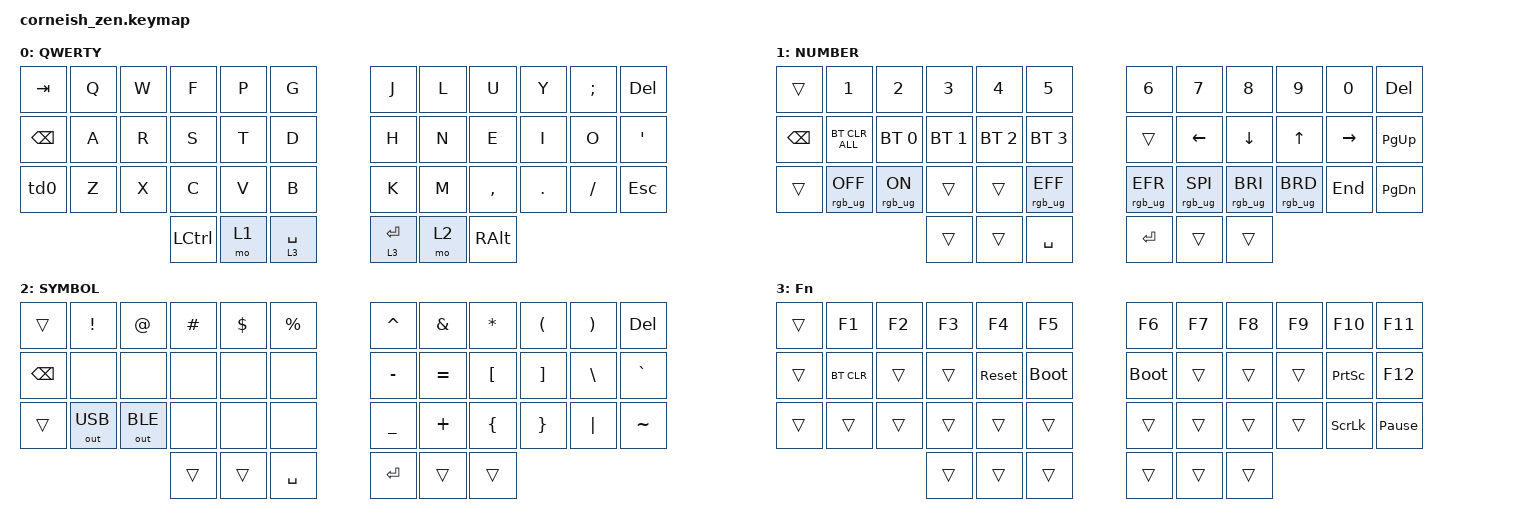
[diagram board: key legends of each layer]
/*
 * Copyright (c) 2020 The ZMK Contributors
 *
 * SPDX-License-Identifier: MIT
 */

#include <behaviors.dtsi>
#include <dt-bindings/zmk/bt.h>
#include <dt-bindings/zmk/keys.h>
#include <dt-bindings/zmk/outputs.h>
#include <dt-bindings/zmk/rgb.h>

/ {
    chosen {
        zmk,matrix_transform = &default_transform;

        // zmk,matrix_transform = &five_column_transform;
    };
};

/ {
    behaviors {
        td0: td0 {
            compatible = "zmk,behavior-tap-dance";
            label = "TD0";
            #binding-cells = <0>;
            bindings = <&kp LEFT_SHIFT>, <&kp CAPS>;
        };
    };

    keymap {
        compatible = "zmk,keymap";



        default_layer {
            display-name = "QWERTY";


            // ------------------------------------------------------------------------------------
            // |  TAB |  Q  |  W  |  F   |  P  |  G  |       |  J  |  L  |  U  |  Y  |  ;  | BKSP |
            // | BKSP |  A  |  R  |  S   |  T  |  D  |       |  H  |  N  |  E  |  I  |  O  |  '   | 
            // | SHFT |  Z  |  X  |  C   |  V  |  B  |       |  K  |  M  |  ,  |  .  |  /  | ESC  |
            //                    | CTRL | LWR | SPC |       | ENT | RSE | ALT |

            bindings = <
&kp TAB    &kp Q  &kp W  &kp F      &kp P  &kp G              &kp J        &kp L      &kp U      &kp Y    &kp SEMI   &kp DEL
&kp BSPC   &kp A  &kp R  &kp S      &kp T  &kp D              &kp H        &kp N      &kp E      &kp I    &kp O      &kp SQT
&td0       &kp Z  &kp X  &kp C      &kp V  &kp B              &kp K        &kp M      &kp COMMA  &kp DOT  &kp FSLH   &kp ESC
                         &kp LCTRL  &mo 1  &lt 3 SPACE        &lt 3 ENTER  &mo 2      &kp RALT   
            >;
        };

        lower_layer {
            display-name = "NUMBER";

            // -----------------------------------------------------------------------------------------
            // |  TAB |  1  |  2  |  3  |  4  |  5  |   |  6  |  7  |  8  |  9  |  0  | BKSP |
            // | BTCLR| BT1 | BT2 | BT3 | BT4 | BT5 |   | LFT | DWN |  UP | RGT |     |      |
            // | SHFT |     |     |     |     |     |   |     |     |     |     |     |      |
            //                    | GUI |     | SPC |   | ENT |     | ALT |

            bindings = <
&trans    &kp N1           &kp N2          &kp N3        &kp N4        &kp N5             &kp N6           &kp N7           &kp N8           &kp N9           &kp N0        &kp DEL
&kp BSPC  &bt BT_CLR_ALL   &bt BT_SEL 0    &bt BT_SEL 1  &bt BT_SEL 2  &bt BT_SEL 3       &trans         &kp LEFT         &kp DOWN         &kp UP           &kp RIGHT     &kp PG_UP
&trans    &rgb_ug RGB_OFF  &rgb_ug RGB_ON  &trans        &trans        &rgb_ug RGB_EFF    &rgb_ug RGB_EFR  &rgb_ug RGB_SPI  &rgb_ug RGB_BRI  &rgb_ug RGB_BRD  &kp END       &kp PG_DN
                                         &trans        &trans        &kp SPACE             &kp RET          &trans           &trans
            >;
        };

        raise_layer {
            display-name = "SYMBOL";

            // -----------------------------------------------------------------------------------------
            // |  TAB |  !  |  @  |  #  |  $  |  %  |   |  ^  |  &  |  *  |  (  |  )  | BKSP |
            // | CTRL |     |     |     |     |     |   |  -  |  =  |  [  |  ]  |  \  |  `   |
            // | SHFT |     |     |     |     |     |   |  _  |  +  |  {  |  }  | "|" |  ~   |
            //                    | GUI |     | SPC |   | ENT |     | ALT |

            bindings = <
&trans    &kp EXCL      &kp AT        &kp HASH  &kp DLLR  &kp PRCNT    &kp CARET  &kp AMPS   &kp ASTRK  &kp LPAR  &kp RPAR  &kp DEL
&kp BSPC  &none         &none         &none     &none     &none        &kp MINUS  &kp EQUAL  &kp LBKT   &kp RBKT  &kp BSLH  &kp GRAVE
&trans    &out OUT_USB  &out OUT_BLE  &none     &none     &none        &kp UNDER  &kp PLUS   &kp LBRC   &kp RBRC  &kp PIPE  &kp TILDE
                                    &trans    &trans    &kp SPACE    &kp RET    &trans     &trans
            >;
        };

        layer_3 {
            display-name = "Fn";
            bindings = <
&trans  &kp F1      &kp F2  &kp F3  &kp F4      &kp F5         &kp F6       &kp F7  &kp F8  &kp F9  &kp F10          &kp F11
&trans  &bt BT_CLR  &trans  &trans  &sys_reset  &bootloader    &bootloader  &trans  &trans  &trans  &kp PRINTSCREEN  &kp F12
&trans  &trans      &trans  &trans  &trans      &trans         &trans       &trans  &trans  &trans  &kp SCROLLLOCK   &kp PAUSE_BREAK
                            &trans  &trans      &trans         &trans       &trans  &trans
            >;
        };
    };
};
